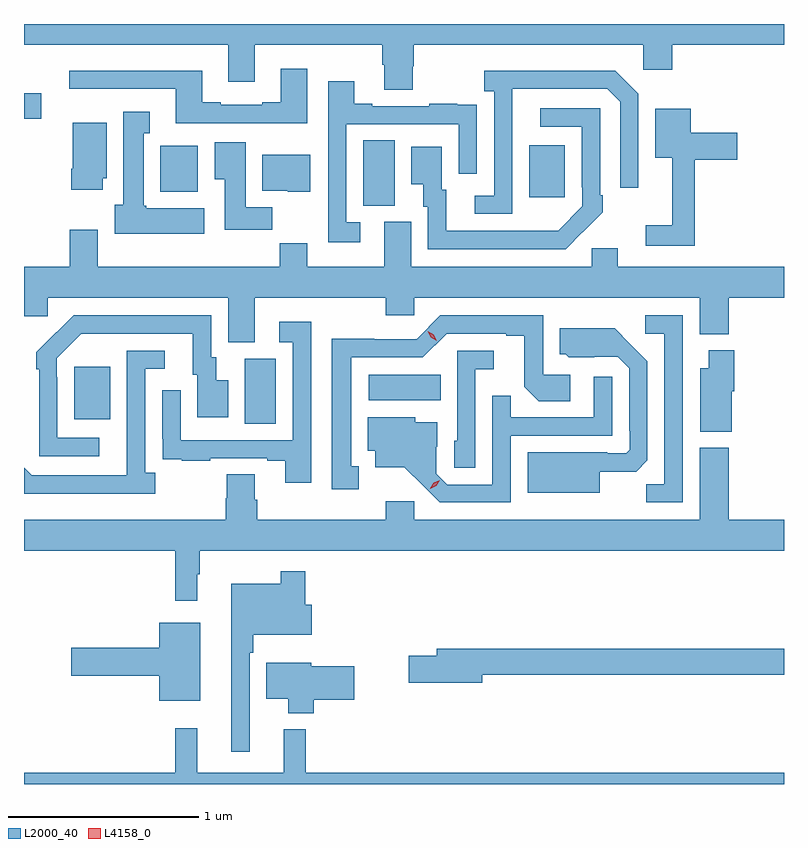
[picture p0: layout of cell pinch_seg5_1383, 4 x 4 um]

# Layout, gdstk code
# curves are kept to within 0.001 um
import gdstk
lib = gdstk.Library(unit=1e-6, precision=1e-09)
def R(c, l, rs):  # rectangles x0, y0, x1, y1
    for r in rs: c.add(gdstk.rectangle(r[:2], r[2:], *l))
def P(c, l, *ps):  # polygons
    for p in ps: c.add(gdstk.Polygon(p, *l))
L2000_40 = (2000, 40)
L4158_0 = (4158, 0)

pinch_seg5_1383 = lib.new_cell('pinch_seg5_1383')
R(pinch_seg5_1383, L2000_40, [(161.144,896.056,161.308,896.4), (160.247,896.081,160.435,896.356), (161.796,896.18,162.176,896.314), (161.768,897.205,161.932,897.548), (162.641,897.249,162.829,897.523), (160.7,897.278,160.897,897.52), (159.982,897.662,160.072,897.796)])
P(pinch_seg5_1383, L2000_40, [(162.027,897.939),(162.032,897.939),(162.032,898.052),(163.242,898.052),(163.242,897.921),(163.394,897.921),(163.394,898.052),(163.982,898.052),(163.982,898.161),(159.982,898.161),(159.982,898.052),(161.057,898.052),(161.057,897.858),(161.197,897.858),(161.197,898.052),(161.867,898.052),(161.867,897.946),(161.879,897.946),(161.879,897.814),(162.027,897.814)],
  [(161.473,897.925),(161.333,897.925),(161.333,897.748),(161.237,897.748),(161.237,897.735),(161.017,897.735),(161.017,897.748),(160.921,897.748),(160.921,897.916),(160.221,897.916),(160.221,897.819),(160.781,897.819),(160.781,897.639),(161.245,897.639),(161.245,897.638),(161.473,897.638)],
  [(162.552,897.619),(162.553,897.819),(163.053,897.819),(163.119,897.753),(163.119,897.3),(163.215,897.3),(163.215,897.795),(163.094,897.916),(162.405,897.916),(162.405,897.806),(162.456,897.806),(162.456,897.258),(162.354,897.258),(162.354,897.162),(162.552,897.162)],
  [(161.752,897.117),(161.679,897.117),(161.679,897.633),(162.27,897.633),(162.27,897.372),(162.366,897.372),(162.366,897.626),(162.365,897.626),(162.365,897.735),(162.263,897.735),(162.263,897.742),(162.115,897.742),(162.115,897.729),(161.815,897.729),(161.815,897.742),(161.719,897.742),(161.719,897.859),(161.583,897.859),(161.583,897.012),(161.752,897.012)],
  [(162.923,897.067),(162.924,897.066),(163.029,897.171),(163.029,897.259),(163.014,897.259),(163.014,897.717),(162.699,897.717),(162.699,897.621),(162.918,897.621),(162.918,897.301),(162.921,897.301),(162.921,897.201),(162.793,897.073),(162.205,897.072),(162.205,897.288),(162.181,897.288),(162.181,897.514),(162.02,897.514),(162.02,897.317),(162.083,897.317),(162.083,897.198),(162.108,897.198),(162.108,896.976),(162.832,896.976)],
  [(163.511,897.446),(163.735,897.446),(163.735,897.588),(163.492,897.588),(163.492,897.715),(163.304,897.715),(163.304,897.458),(163.394,897.458),(163.394,897.103),(163.254,897.103),(163.254,896.994),(163.511,896.994)],
  [(160.93,897.19),(160.626,897.19),(160.626,897.204),(160.612,897.204),(160.612,897.587),(160.645,897.587),(160.645,897.7),(160.505,897.7),(160.505,897.21),(160.46,897.21),(160.46,897.056),(160.93,897.056)],
  [(160.396,897.348),(160.417,897.348),(160.417,897.64),(160.238,897.64),(160.238,897.4),(160.231,897.4),(160.231,897.288),(160.396,897.288)],
  [(161.288,897.196),(161.149,897.196),(161.149,897.538),(160.985,897.538),(160.985,897.344),(161.039,897.344),(161.039,897.078),(161.288,897.078)],
  [(161.488,897.472),(161.237,897.472),(161.237,897.284),(161.37,897.284),(161.37,897.278),(161.488,897.278)],
  [(163.108,896.982),(162.969,896.982),(162.969,896.884),(162.019,896.884),(162.019,897.12),(161.879,897.12),(161.879,896.884),(161.473,896.884),(161.473,897.008),(161.329,897.008),(161.329,896.884),(160.369,896.884),(160.369,897.079),(160.222,897.079),(160.222,896.884),(159.982,896.884),(159.982,896.622),(160.107,896.622),(160.107,896.72),(161.057,896.72),(161.057,896.485),(161.197,896.485),(161.197,896.72),(161.885,896.72),(161.885,896.627),(162.036,896.627),(162.036,896.72),(163.538,896.72),(163.538,896.528),(163.691,896.528),(163.691,896.72),(163.982,896.72),(163.982,896.884),(163.108,896.884)],
  [(160.378,895.983),(160.158,895.983),(160.158,896.303),(160.155,896.303),(160.155,896.403),(160.284,896.532),(160.871,896.532),(160.871,896.316),(160.895,896.316),(160.895,896.091),(161.056,896.091),(161.056,896.287),(160.993,896.287),(160.993,896.406),(160.968,896.406),(160.968,896.628),(160.244,896.628),(160.047,896.433),(160.047,896.345),(160.062,896.345),(160.062,895.887),(160.378,895.887)],
  [(161.743,895.833),(161.704,895.833),(161.704,896.406),(162.081,896.406),(162.207,896.532),(162.521,896.532),(162.521,896.52),(162.615,896.52),(162.615,896.252),(162.691,896.176),(162.856,896.176),(162.856,896.316),(162.714,896.316),(162.714,896.628),(162.174,896.628),(162.048,896.502),(161.826,896.502),(161.826,896.504),(161.603,896.504),(161.603,895.713),(161.743,895.713)],
  [(163.449,896.628),(163.251,896.628),(163.251,896.532),(163.353,896.532),(163.353,895.739),(163.258,895.739),(163.258,895.644),(163.449,895.644)],
  [(161.493,896.593),(161.325,896.593),(161.325,896.487),(161.397,896.487),(161.397,895.971),(160.806,895.971),(160.806,896.233),(160.71,896.233),(160.71,895.978),(160.711,895.978),(160.711,895.869),(160.813,895.869),(160.813,895.863),(160.961,895.863),(160.961,895.875),(161.261,895.875),(161.261,895.863),(161.357,895.863),(161.357,895.746),(161.493,895.746)],
  [(163.012,895.805),(163.204,895.805),(163.263,895.864),(163.263,896.386),(163.091,896.56),(162.803,896.56),(162.803,896.424),(162.834,896.424),(162.85,896.408),(163.107,896.409),(163.167,896.349),(163.167,896.02),(163.17,896.02),(163.17,895.92),(163.152,895.902),(163.052,895.902),(163.052,895.906),(162.632,895.906),(162.632,895.694),(163.012,895.694)],
  [(163.708,896.229),(163.721,896.229),(163.721,896.443),(163.586,896.443),(163.586,896.35),(163.541,896.35),(163.541,896.015),(163.708,896.015)],
  [(160.672,895.798),(160.62,895.798),(160.62,896.346),(160.723,896.346),(160.723,896.442),(160.524,896.442),(160.523,895.785),(160.023,895.785),(159.982,895.826),(159.982,895.688),(160.672,895.688)],
  [(162.357,896.345),(162.454,896.345),(162.454,896.442),(162.261,896.442),(162.261,895.968),(162.246,895.968),(162.246,895.825),(162.357,895.825)],
  [(162.543,895.995),(163.077,895.995),(163.077,896.305),(162.981,896.305),(162.981,896.091),(162.545,896.091),(162.545,896.204),(162.447,896.204),(162.447,895.737),(162.21,895.737),(162.153,895.794),(162.153,895.936),(162.157,895.936),(162.157,896.065),(162.042,896.065),(162.042,896.092),(161.792,896.092),(161.792,895.916),(161.831,895.916),(161.831,895.829),(161.983,895.829),(162.17,895.644),(162.543,895.644)],
  [(160.894,895.265),(160.906,895.265),(160.906,895.388),(163.982,895.388),(163.982,895.552),(163.691,895.552),(163.691,895.93),(163.538,895.93),(163.538,895.552),(162.036,895.552),(162.036,895.648),(161.885,895.648),(161.885,895.552),(161.21,895.552),(161.21,895.658),(161.197,895.658),(161.197,895.79),(161.05,895.79),(161.05,895.665),(161.045,895.665),(161.045,895.552),(159.982,895.552),(159.982,895.388),(160.777,895.388),(160.777,895.125),(160.894,895.125)],
  [(161.169,894.851),(161.189,894.851),(161.189,894.947),(161.497,894.947),(161.497,895.105),(161.462,895.105),(161.462,895.282),(161.334,895.282),(161.334,895.216),(161.072,895.216),(161.072,894.33),(161.169,894.33)],
  [(160.909,895.009),(160.694,895.009),(160.694,894.878),(160.23,894.878),(160.23,894.731),(160.694,894.731),(160.694,894.599),(160.909,894.599)],
  [(162.394,894.736),(163.982,894.736),(163.982,894.872),(162.155,894.872),(162.155,894.836),(162.006,894.836),(162.006,894.694),(162.394,894.694)],
  [(161.507,894.604),(161.719,894.604),(161.719,894.782),(161.494,894.782),(161.494,894.799),(161.258,894.799),(161.258,894.611),(161.372,894.611),(161.372,894.533),(161.507,894.533)],
  [(163.982,894.22),(161.465,894.22),(161.465,894.448),(161.348,894.448),(161.348,894.22),(160.895,894.22),(160.895,894.454),(160.777,894.454),(160.777,894.22),(159.982,894.22),(159.982,894.161),(163.982,894.161)])
P(pinch_seg5_1383, L4158_0, [(162.121,895.716),(162.121,895.717),(162.138,895.746),(162.169,895.761),(162.169,895.761),(162.169,895.761),(162.152,895.732),(162.121,895.716)],
  [(162.155,896.493),(162.123,896.512),(162.106,896.545),(162.106,896.545),(162.106,896.545),(162.138,896.526),(162.155,896.493),(162.155,896.493)])

lib.write_gds('pinch_seg5_1383.gds')
